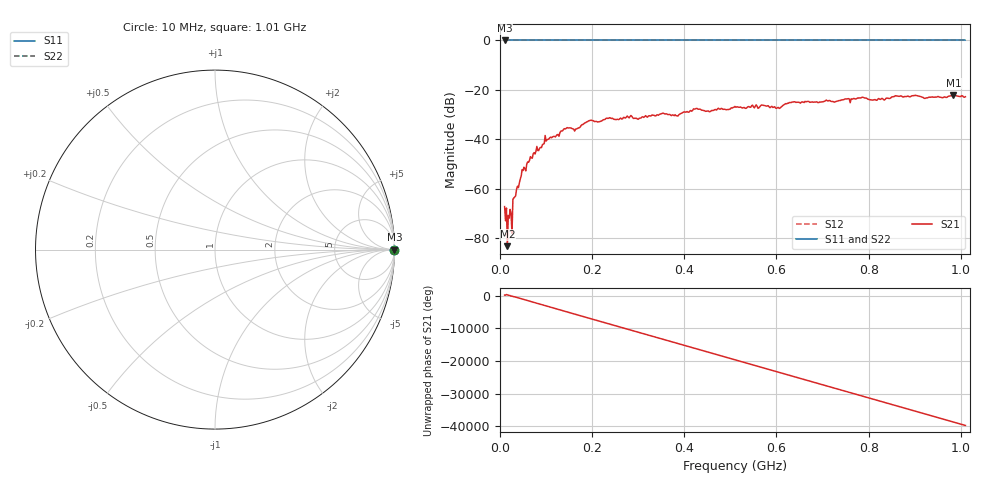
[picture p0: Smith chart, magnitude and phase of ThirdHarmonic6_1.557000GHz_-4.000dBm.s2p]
! 8/16/2025 6:29:19 PM
! C:\ANRITSUVNA\TEMP\TEMP.S2P
! CHANNEL.1
! TR.MEASUREMENT
! RAW.DATA
! RF.CORRECTION.OFF
! AVERAGING.OFF
! IF.BANDWIDTH: 5KHZ
! SWEEPTYPE:  FREQ.SWEEP(Linear)
! Reference Plane Port Info
! PORT:  PORT1  PORT2
! DISTANCE:  0  m  0  m
! TIME:  0  s  0  s
! PHASE.OFFSET:  0  deg.  0  deg.
! LOSS:  0  dB  0  dB
! REF.LOSS:  0  dB  0  dB
! REF.FREQ:  0  Hz  0  Hz
! Power Info
! POWER:  -20  dBm  -20  dBm
! EFF.POWER:  -20  dBm  -20  dBm
! SOURCE.ATTEN:  0  dB  0  dB
! TEST.ATTEN:  0  dB  0  dB
# GHZ S RI R 50.0
! FREQ.GHZ  S11RE  S11IM  S21RE  S21IM  S12RE  S12IM  S22RE  S22IM
!; PortSelection: Port_12
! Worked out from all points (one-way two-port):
!   501 points, 10 MHz to 1.01 GHz, reference 50 ohm
!   highest |S21| = -22.05 dB at 984 MHz (marker M1); lowest = -83.2 dB at 16 MHz (marker M2)
!   lowest |S11| = 0.0 dB at 10 MHz (marker M3)
!   |S11| at or under -10 dB: nowhere
!   |S22| runs from 0.0 to 0.0 dB; largest |S21 - S12| = 1.1
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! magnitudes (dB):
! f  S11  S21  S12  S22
! 10 MHz  0.0  -67.2  0.0  0.0
! 12 MHz  0.0  -72.9  0.0  0.0
! 16 MHz  0.0  -83.2  0.0  0.0
! 22 MHz  0.0  -68.3  0.0  0.0
! 30 MHz  0.0  -63.6  0.0  0.0
! 32 MHz  0.0  -63.3  0.0  0.0
! 48 MHz  0.0  -52.2  0.0  0.0
! 76 MHz  0.0  -45.9  0.0  0.0
! 102 MHz  0.0  -40.2  0.0  0.0
! 142 MHz  0.0  -35.8  0.0  0.0
! 164 MHz  0.0  -35.9  0.0  0.0
! 178 MHz  0.0  -34.0  0.0  0.0
! 196 MHz  0.0  -32.3  0.0  0.0
! 344 MHz  0.0  -30.2  0.0  0.0
! 382 MHz  0.0  -30.4  0.0  0.0
! 510 MHz  0.0  -26.7  0.0  0.0
! 604 MHz  0.0  -27.1  0.0  0.0
! 632 MHz  0.0  -25.1  0.0  0.0
! 678 MHz  0.0  -24.8  0.0  0.0
! 844 MHz  0.0  -23.5  0.0  0.0
! 984 MHz  0.0  -22.1  0.0  0.0
! 1.01 GHz  0.0  -22.7  0.0  0.0
